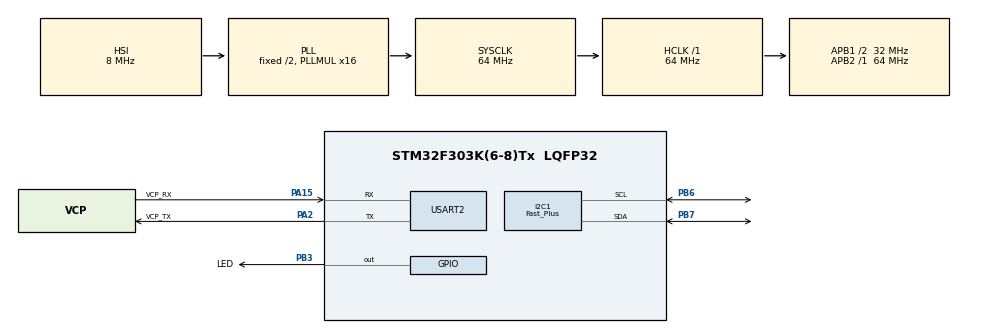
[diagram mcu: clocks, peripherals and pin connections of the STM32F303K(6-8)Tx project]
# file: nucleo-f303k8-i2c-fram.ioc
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I2C1.I2C_Speed_Mode=I2C_Fast_Plus
I2C1.OwnAddress=0x50
I2C1.Timing=0x00000001
Mcu.Family=STM32F3
Mcu.Name=STM32F303K(6-8)Tx
Mcu.Package=LQFP32
NVIC.PriorityGroup=NVIC_PRIORITYGROUP_4
NVIC.TIM7_DAC2_IRQn=true\:0\:0\:false\:false\:true
PA13.GPIO_Label=SWDIO
PA13.Mode=Serial_Wire
PA13.Signal=SYS_JTMS-SWDIO
PA14.GPIO_Label=SWCLK
PA14.Mode=Serial_Wire
PA14.Signal=SYS_JTCK-SWCLK
PA15.GPIO_Label=VCP_RX
PA15.Mode=Asynchronous
PA15.Signal=USART2_RX
PA2.GPIO_Label=VCP_TX
PA2.Mode=Asynchronous
PA2.Signal=USART2_TX
PB3.GPIO_Label=LED
PB3.Signal=GPIO_Output
PB6.Mode=I2C
PB6.Signal=I2C1_SCL
PB7.Mode=I2C
PB7.Signal=I2C1_SDA
PF0\ /\ OSC_IN.GPIO_Label=MCO
PF0\ /\ OSC_IN.Signal=RCC_OSC_IN
ProjectManager.HeapSize=0x200
ProjectManager.StackSize=0x400
ProjectManager.TargetToolchain=MDK-ARM V5
RCC.AHBFreq_Value=64000000
RCC.APB1CLKDivider=RCC_HCLK_DIV2
RCC.APB1Freq_Value=32000000
RCC.APB1TimFreq_Value=64000000
RCC.APB2Freq_Value=64000000
RCC.APB2TimFreq_Value=64000000
RCC.CortexFreq_Value=64000000
RCC.HCLKFreq_Value=64000000
RCC.HSE_VALUE=8000000
RCC.HSI_VALUE=8000000
RCC.PLLMUL=RCC_PLL_MUL16
RCC.SYSCLKFreq_VALUE=64000000
RCC.SYSCLKSourceVirtual=RCC_SYSCLKSOURCE_PLLCLK
TIM7.Period=63999
TIM7.Prescaler=999
USART2.WordLength=UART_WORDLENGTH_8B
VP_TIM7_VS_ClockSourceINT.Mode=Enable_Timer
board=NUCLEO-F303K8

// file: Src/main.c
/**
  ******************************************************************************
  * File Name          : main.c
  * Description        : Main program body
  ******************************************************************************
  *
  * COPYRIGHT(c) 2016 STMicroelectronics
  *
  * Redistribution and use in source and binary forms, with or without modification,
  * are permitted provided that the following conditions are met:
  *   1. Redistributions of source code must retain the above copyright notice,
  *      this list of conditions and the following disclaimer.
  *   2. Redistributions in binary form must reproduce the above copyright notice,
  *      this list of conditions and the following disclaimer in the documentation
  *      and/or other materials provided with the distribution.
  *   3. Neither the name of STMicroelectronics nor the names of its contributors
  *      may be used to endorse or promote products derived from this software
  *      without specific prior written permission.
  *
  * THIS SOFTWARE IS PROVIDED BY THE COPYRIGHT HOLDERS AND CONTRIBUTORS "AS IS"
  * AND ANY EXPRESS OR IMPLIED WARRANTIES, INCLUDING, BUT NOT LIMITED TO, THE
  * IMPLIED WARRANTIES OF MERCHANTABILITY AND FITNESS FOR A PARTICULAR PURPOSE ARE
  * DISCLAIMED. IN NO EVENT SHALL THE COPYRIGHT HOLDER OR CONTRIBUTORS BE LIABLE
  * FOR ANY DIRECT, INDIRECT, INCIDENTAL, SPECIAL, EXEMPLARY, OR CONSEQUENTIAL
  * DAMAGES (INCLUDING, BUT NOT LIMITED TO, PROCUREMENT OF SUBSTITUTE GOODS OR
  * SERVICES; LOSS OF USE, DATA, OR PROFITS; OR BUSINESS INTERRUPTION) HOWEVER
  * CAUSED AND ON ANY THEORY OF LIABILITY, WHETHER IN CONTRACT, STRICT LIABILITY,
  * OR TORT (INCLUDING NEGLIGENCE OR OTHERWISE) ARISING IN ANY WAY OUT OF THE USE
  * OF THIS SOFTWARE, EVEN IF ADVISED OF THE POSSIBILITY OF SUCH DAMAGE.
  *
  ******************************************************************************
  */
#include "main.h"
#include "stm32f3xx_hal.h"
#include "i2c.h"
#include "tim.h"
#include "usart.h"
#include "gpio.h"

/* USER CODE BEGIN Includes */
#include <string.h>
#include "fram_utils.h"
/* USER CODE END Includes */

/* USER CODE BEGIN PV */
/* Private variables ---------------------------------------------------------*/
volatile uint8_t timer7_flag = 0;
uint32_t count = 0;
#define BUFFER_SIZE     16
uint8_t buffer[BUFFER_SIZE];
uint8_t txbuff[BUFFER_SIZE];
char message[] = "hello vladimir monpetit hamas... (CINEMeister Inc.)";
char rxbuff[128];

/* USER CODE END PV */

void SystemClock_Config(void);
void Error_Handler(void);

/* USER CODE BEGIN PFP */
/* Private function prototypes -----------------------------------------------*/

/* USER CODE END PFP */

/* USER CODE BEGIN 0 */

#define FRAM_ADDR           (0x50 << 1) /* 0b1010 (slave id) + 0b000(device select) */
#define STORAGE_BASE_ADDR   (0)
/* USER CODE END 0 */

int main(void)
{

    /* MCU Configuration----------------------------------------------------------*/

    /* Reset of all peripherals, Initializes the Flash interface and the Systick. */
    HAL_Init();

    /* Configure the system clock */
    SystemClock_Config();

    /* Initialize all configured peripherals */
    MX_GPIO_Init();
    MX_I2C1_Init();
    MX_TIM7_Init();
    MX_USART2_UART_Init();

    /* USER CODE BEGIN 2 */
    HAL_TIM_Base_Start_IT(&htim7);
    fram_init(FRAM_ADDR);

    if (fram_is_ready() == HAL_OK) {
        /*
        for (int i = 0; i < BUFFER_SIZE; i++)
            txbuff[i] = (i + 7);
        fram_write_buffer(0, txbuff, BUFFER_SIZE);
        fram_write_buffer(256, (uint8_t*)message, strlen(message));
        */
    }

    /* USER CODE END 2 */

    /* Infinite loop */
    while (1) {

        /* USER CODE BEGIN 3 */
        if (timer7_flag) {
            printf("count = %u\r\n", count++);

            HAL_StatusTypeDef status = fram_is_ready();
            printf("I2C Status [device ready] = %d\r\n", status);

            status = fram_read_buffer(0, buffer, BUFFER_SIZE);
            printf("I2C Status [mem read] = %d\r\n", status);

            if (status == HAL_OK) {
                for (int i = 0; i < BUFFER_SIZE; i++) {
                    printf("0x%02x ", buffer[i]);
                }
                printf("\r\n");
            }

            status = fram_read_buffer(256, (uint8_t*)rxbuff, strlen(message));
            if (status == HAL_OK) {
                rxbuff[strlen(message)] = 0;
                printf("memory = [%s]\r\n", rxbuff);
            }

            for (int i = 0; i < BUFFER_SIZE; i++) {
                printf("offset [%d] ---> %u\r\n", i, fram_read(i));
            }

            timer7_flag = 0;
        }

    }
    /* USER CODE END 3 */

}

/** System Clock Configuration
*/
void SystemClock_Config(void)
{

    RCC_OscInitTypeDef RCC_OscInitStruct;
    RCC_ClkInitTypeDef RCC_ClkInitStruct;
    RCC_PeriphCLKInitTypeDef PeriphClkInit;

    /**Initializes the CPU, AHB and APB busses clocks
    */
    RCC_OscInitStruct.OscillatorType = RCC_OSCILLATORTYPE_HSI;
    RCC_OscInitStruct.HSIState = RCC_HSI_ON;
    RCC_OscInitStruct.HSICalibrationValue = 16;
    RCC_OscInitStruct.PLL.PLLState = RCC_PLL_ON;
    RCC_OscInitStruct.PLL.PLLSource = RCC_PLLSOURCE_HSI;
    RCC_OscInitStruct.PLL.PLLMUL = RCC_PLL_MUL16;
    if (HAL_RCC_OscConfig(&RCC_OscInitStruct) != HAL_OK) {
        Error_Handler();
    }

    /**Initializes the CPU, AHB and APB busses clocks
    */
    RCC_ClkInitStruct.ClockType = RCC_CLOCKTYPE_HCLK | RCC_CLOCKTYPE_SYSCLK
                                  | RCC_CLOCKTYPE_PCLK1 | RCC_CLOCKTYPE_PCLK2;
    RCC_ClkInitStruct.SYSCLKSource = RCC_SYSCLKSOURCE_PLLCLK;
    RCC_ClkInitStruct.AHBCLKDivider = RCC_SYSCLK_DIV1;
    RCC_ClkInitStruct.APB1CLKDivider = RCC_HCLK_DIV2;
    RCC_ClkInitStruct.APB2CLKDivider = RCC_HCLK_DIV1;

    if (HAL_RCC_ClockConfig(&RCC_ClkInitStruct, FLASH_LATENCY_2) != HAL_OK) {
        Error_Handler();
    }

    PeriphClkInit.PeriphClockSelection = RCC_PERIPHCLK_I2C1;
    PeriphClkInit.I2c1ClockSelection = RCC_I2C1CLKSOURCE_HSI;
    if (HAL_RCCEx_PeriphCLKConfig(&PeriphClkInit) != HAL_OK) {
        Error_Handler();
    }

    /**Configure the Systick interrupt time
    */
    HAL_SYSTICK_Config(HAL_RCC_GetHCLKFreq() / 1000);

    /**Configure the Systick
    */
    HAL_SYSTICK_CLKSourceConfig(SYSTICK_CLKSOURCE_HCLK);

    /* SysTick_IRQn interrupt configuration */
    HAL_NVIC_SetPriority(SysTick_IRQn, 0, 0);
}

void Error_Handler(void)
{
    while (1) {
    }
}

/************************ (C) COPYRIGHT STMicroelectronics *****END OF FILE****/
